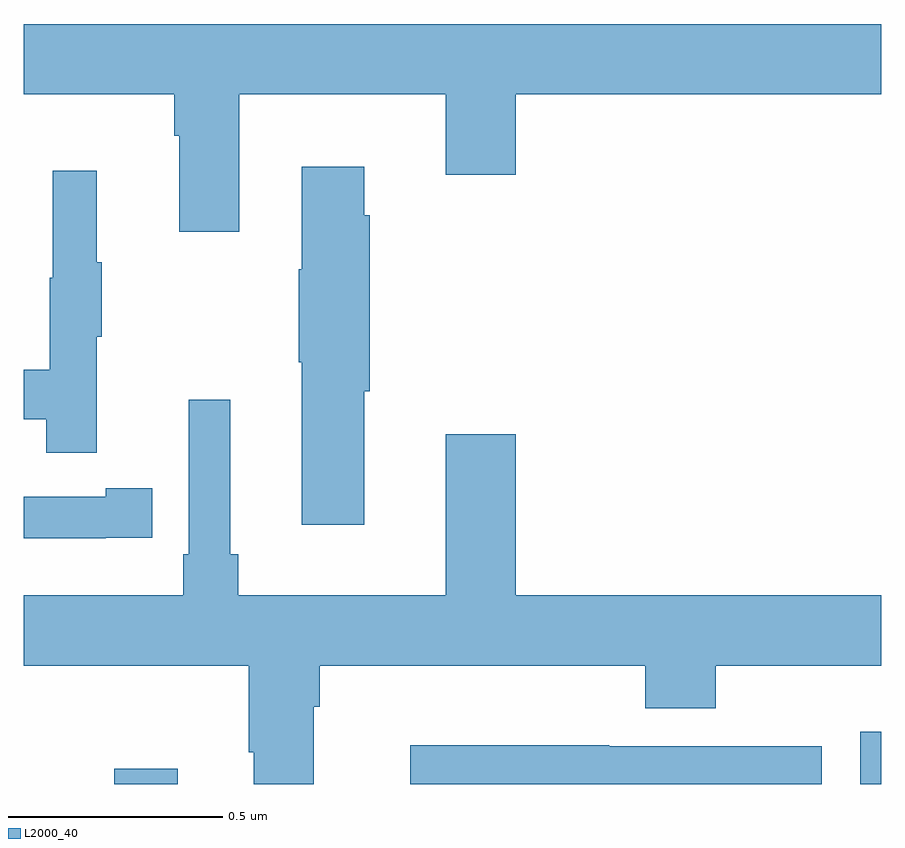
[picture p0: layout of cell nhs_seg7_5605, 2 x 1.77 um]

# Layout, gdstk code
import gdstk
lib = gdstk.Library(unit=1e-6, precision=1e-09)
def R(c, l, rs):  # rectangles x0, y0, x1, y1
    for r in rs: c.add(gdstk.rectangle(r[:2], r[2:], *l))
def P(c, l, *ps):  # polygons
    for p in ps: c.add(gdstk.Polygon(p, *l))
L2000_40 = (2000, 40)

nhs_seg7_5605 = lib.new_cell('nhs_seg7_5605')
R(nhs_seg7_5605, L2000_40, [(188.211,1007,188.359,1007.035), (189.951,1007,190,1007.122)])
P(nhs_seg7_5605, L2000_40, [(188.503,1008.608),(188.984,1008.608),(188.984,1008.42),(189.148,1008.42),(189.148,1008.608),(190,1008.608),(190,1008.772),(188,1008.772),(188,1008.608),(188.351,1008.608),(188.351,1008.512),(188.363,1008.512),(188.363,1008.288),(188.503,1008.288)],
  [(188.794,1007.916),(188.807,1007.916),(188.807,1008.326),(188.794,1008.326),(188.794,1008.439),(188.648,1008.439),(188.648,1008.2),(188.641,1008.2),(188.641,1007.983),(188.648,1007.983),(188.648,1007.604),(188.794,1007.604)],
  [(188.171,1008.043),(188.182,1008.043),(188.182,1008.217),(188.171,1008.217),(188.171,1008.43),(188.068,1008.43),(188.068,1008.18),(188.061,1008.18),(188.061,1007.966),(188,1007.966),(188,1007.85),(188.053,1007.85),(188.053,1007.772),(188.171,1007.772)],
  [(188.677,1007.18),(188.69,1007.18),(188.69,1007.276),(189.449,1007.276),(189.449,1007.177),(189.614,1007.177),(189.614,1007.276),(190,1007.276),(190,1007.44),(189.148,1007.44),(189.148,1007.815),(188.984,1007.815),(188.984,1007.44),(188.501,1007.44),(188.501,1007.536),(188.482,1007.536),(188.482,1007.896),(188.385,1007.896),(188.385,1007.536),(188.372,1007.536),(188.372,1007.44),(188,1007.44),(188,1007.276),(188.525,1007.276),(188.525,1007.074),(188.537,1007.074),(188.537,1007),(188.677,1007)],
  [(188.192,1007.574),(188.3,1007.574),(188.3,1007.69),(188.192,1007.69),(188.192,1007.67),(188,1007.67),(188,1007.573),(188.192,1007.573)],
  [(189.861,1007.088),(189.365,1007.088),(189.365,1007.09),(188.902,1007.09),(188.902,1007),(189.861,1007)])

lib.write_gds('nhs_seg7_5605.gds')
